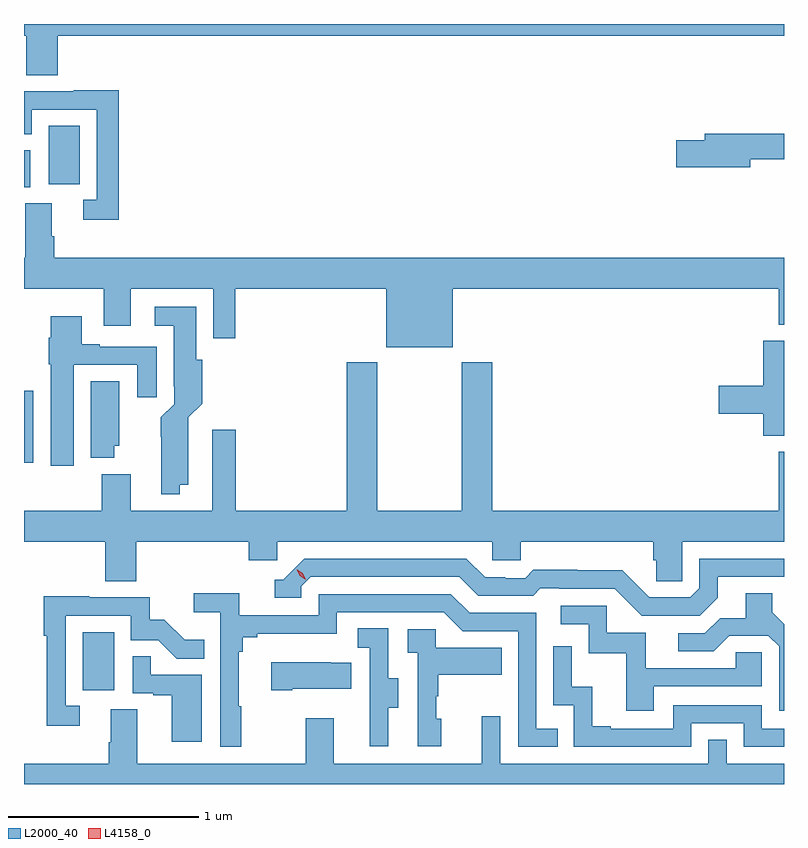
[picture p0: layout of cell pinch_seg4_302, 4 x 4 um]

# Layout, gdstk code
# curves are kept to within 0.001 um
import gdstk
lib = gdstk.Library(unit=1e-6, precision=1e-09)
def R(c, l, rs):  # rectangles x0, y0, x1, y1
    for r in rs: c.add(gdstk.rectangle(r[:2], r[2:], *l))
def P(c, l, *ps):  # polygons
    for p in ps: c.add(gdstk.Polygon(p, *l))
L2000_40 = (2000, 40)
L4158_0 = (4158, 0)

pinch_seg4_302 = lib.new_cell('pinch_seg4_302')
R(pinch_seg4_302, L2000_40, [(926.336,804.03,926.5,804.337), (926.026,805.227,926.074,805.608), (926.026,806.679,926.058,806.873), (926.156,806.694,926.32,807.001)])
P(pinch_seg4_302, L2000_40, [(926.204,807.476),(930.026,807.476),(930.026,807.537),(926.026,807.537),(926.026,807.476),(926.039,807.476),(926.039,807.268),(926.204,807.268)],
  [(926.525,807.188),(926.287,807.188),(926.287,807.183),(926.026,807.183),(926.026,806.958),(926.067,806.958),(926.067,807.087),(926.409,807.087),(926.409,806.613),(926.337,806.613),(926.337,806.508),(926.525,806.508)],
  [(929.848,806.824),(930.026,806.824),(930.026,806.96),(929.609,806.96),(929.609,806.924),(929.46,806.924),(929.46,806.782),(929.848,806.782)],
  [(928.282,806.144),(929.999,806.144),(929.999,805.954),(930.026,805.954),(930.026,806.308),(926.186,806.308),(926.186,806.42),(926.173,806.42),(926.173,806.594),(926.033,806.594),(926.033,806.308),(926.026,806.308),(926.026,806.144),(926.447,806.144),(926.447,805.95),(926.587,805.95),(926.587,806.144),(927.021,806.144),(927.021,805.884),(927.137,805.884),(927.137,806.144),(927.932,806.144),(927.932,805.835),(928.282,805.835)],
  [(926.845,805.112),(926.89,805.112),(926.891,805.466),(926.963,805.538),(926.963,805.77),(926.932,805.77),(926.932,806.05),(926.715,806.05),(926.715,805.949),(926.813,805.949),(926.813,805.63),(926.817,805.63),(926.817,805.536),(926.747,805.466),(926.748,805.061),(926.845,805.061)],
  [(926.287,805.743),(926.621,805.743),(926.621,805.572),(926.725,805.572),(926.725,805.839),(926.425,805.839),(926.425,805.852),(926.329,805.852),(926.329,805.999),(926.168,805.999),(926.168,805.886),(926.156,805.886),(926.156,805.746),(926.168,805.746),(926.168,805.212),(926.287,805.212)],
  [(930.026,805.869),(929.918,805.869),(929.918,805.634),(929.682,805.634),(929.682,805.487),(929.918,805.487),(929.918,805.37),(930.026,805.37)],
  [(926.618,804.812),(927.209,804.812),(927.209,804.714),(927.36,804.714),(927.36,804.812),(928.491,804.812),(928.491,804.714),(928.641,804.714),(928.641,804.812),(929.339,804.812),(929.339,804.714),(929.353,804.714),(929.353,804.604),(929.49,804.604),(929.49,804.812),(930.026,804.812),(930.026,805.285),(929.999,805.285),(929.999,804.976),(928.49,804.976),(928.49,805.756),(928.33,805.756),(928.33,804.976),(927.885,804.976),(927.885,805.756),(927.725,805.756),(927.725,804.976),(927.14,804.976),(927.14,805.402),(927.017,805.402),(927.017,804.976),(926.587,804.976),(926.587,805.168),(926.435,805.168),(926.435,804.976),(926.026,804.976),(926.026,804.812),(926.453,804.812),(926.453,804.604),(926.618,804.604)],
  [(926.5,805.317),(926.527,805.317),(926.527,805.658),(926.378,805.658),(926.378,805.253),(926.5,805.253)],
  [(929.677,804.517),(929.677,804.627),(930.026,804.627),(930.026,804.723),(929.58,804.723),(929.58,804.567),(929.532,804.519),(929.316,804.519),(929.174,804.661),(928.938,804.661),(928.938,804.664),(928.705,804.664),(928.663,804.621),(928.56,804.621),(928.56,804.624),(928.453,804.624),(928.354,804.723),(927.501,804.723),(927.39,804.612),(927.347,804.612),(927.347,804.516),(927.486,804.516),(927.486,804.579),(927.534,804.627),(928.317,804.627),(928.416,804.528),(928.705,804.528),(928.744,804.567),(928.843,804.567),(928.843,804.564),(929.136,804.564),(929.277,804.423),(929.583,804.423)],
  [(927.169,803.945),(927.157,803.945),(927.157,804.233),(927.176,804.233),(927.176,804.31),(927.253,804.31),(927.253,804.329),(927.672,804.329),(927.672,804.441),(928.236,804.441),(928.335,804.342),(928.626,804.342),(928.626,803.733),(928.835,803.733),(928.835,803.829),(928.722,803.829),(928.722,804.438),(928.372,804.438),(928.273,804.537),(927.576,804.537),(927.576,804.426),(927.158,804.426),(927.158,804.542),(926.919,804.542),(926.919,804.44),(927.06,804.44),(927.06,803.733),(927.169,803.733)],
  [(930.026,804.379),(929.965,804.44),(929.965,804.542),(929.825,804.542),(929.825,804.41),(929.69,804.41),(929.61,804.33),(929.469,804.33),(929.469,804.237),(929.656,804.237),(929.737,804.318),(929.943,804.318),(930,804.261),(930,803.922),(930.026,803.922)],
  [(926.32,803.949),(926.247,803.949),(926.247,804.423),(926.589,804.423),(926.589,804.294),(926.733,804.294),(926.831,804.196),(926.975,804.196),(926.975,804.295),(926.871,804.295),(926.764,804.402),(926.688,804.402),(926.688,804.519),(926.369,804.519),(926.369,804.524),(926.131,804.524),(926.131,804.316),(926.146,804.316),(926.146,803.844),(926.32,803.844)],
  [(929.341,804.051),(929.91,804.051),(929.91,804.231),(929.773,804.231),(929.773,804.147),(929.299,804.147),(929.299,804.333),(929.094,804.333),(929.094,804.474),(928.851,804.474),(928.851,804.378),(928.998,804.378),(928.998,804.225),(929.197,804.225),(929.197,803.922),(929.341,803.922)],
  [(927.943,803.938),(927.997,803.938),(927.997,804.093),(927.942,804.093),(927.942,804.356),(927.783,804.356),(927.783,804.253),(927.846,804.253),(927.846,803.949),(927.845,803.949),(927.845,803.736),(927.943,803.736)],
  [(928.222,803.88),(928.197,803.88),(928.197,803.999),(928.207,803.999),(928.207,804.113),(928.541,804.113),(928.541,804.253),(928.194,804.253),(928.194,804.351),(928.047,804.351),(928.047,804.227),(928.098,804.227),(928.098,803.736),(928.222,803.736)],
  [(929.538,803.856),(929.814,803.856),(929.814,803.733),(930.026,803.733),(930.026,803.829),(929.91,803.829),(929.91,803.952),(929.442,803.952),(929.442,803.829),(929.113,803.829),(929.113,803.842),(929.018,803.842),(929.018,804.05),(928.908,804.05),(928.908,804.262),(928.812,804.262),(928.812,803.952),(928.92,803.952),(928.92,803.733),(929.538,803.733)],
  [(926.962,804.111),(926.693,804.111),(926.693,804.209),(926.598,804.209),(926.598,804.015),(926.705,804.015),(926.705,804.003),(926.804,804.003),(926.804,803.76),(926.962,803.76)],
  [(927.439,804.038),(927.749,804.038),(927.749,804.175),(927.641,804.175),(927.641,804.178),(927.327,804.178),(927.327,804.031),(927.439,804.031)],
  [(930.026,803.644),(929.724,803.644),(929.724,803.771),(929.628,803.771),(929.628,803.644),(928.533,803.644),(928.533,803.893),(928.436,803.893),(928.436,803.644),(927.655,803.644),(927.655,803.884),(927.508,803.884),(927.508,803.644),(926.623,803.644),(926.623,803.93),(926.483,803.93),(926.483,803.756),(926.471,803.756),(926.471,803.644),(926.026,803.644),(926.026,803.537),(930.026,803.537)])
P(pinch_seg4_302, L4158_0, [(927.509,804.612),(927.478,804.632),(927.462,804.665),(927.462,804.665),(927.463,804.665),(927.493,804.645),(927.509,804.612),(927.509,804.612)])

lib.write_gds('pinch_seg4_302.gds')
